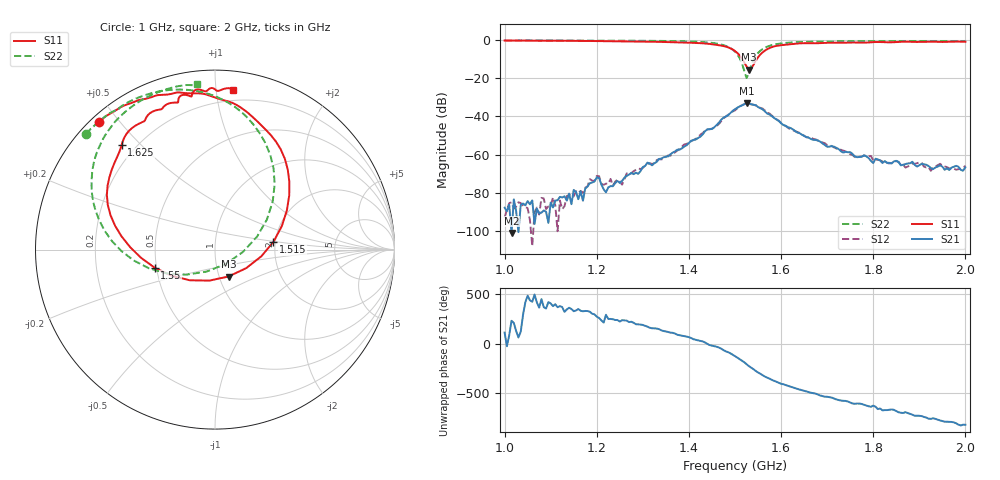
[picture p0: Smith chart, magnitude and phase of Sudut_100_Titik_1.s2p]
# Hz S RI R 50
! CMT, C1220, 16058040, 17.2.0/1
! Date: 14/08/2018 12:55:14
! Data: Format (Calibration Info)
! Freq  S11: Re/Im (F2)  S21: Re/Im (F2)  S12: Re/Im (F2)  S22: Re/Im (F2)
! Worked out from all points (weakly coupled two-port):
!   201 points, 1 GHz to 2 GHz, reference 50 ohm
!   highest |S21| = -33.06 dB at 1.525 GHz (marker M1); lowest = -100.9 dB at 1.015 GHz (marker M2)
!   lowest |S11| = -15.5 dB at 1.53 GHz (marker M3), VSWR 1.40, Z = 55.4 - j17.1 ohm
!   |S11| at or under -10 dB: 1.516 GHz to 1.547 GHz (31.71 MHz wide, 2.07 % of centre)
!   |S22| runs from -19.9 to -0.3 dB; largest |S21 - S12| = 0.00093
!   S11 on the Smith chart (normalised r, x): 1 GHz: 0.02, +0.44; 1.515 GHz: 1.95, +0.19; 1.55 GHz: 0.49, -0.11; 1.625 GHz: 0.15, +0.44; 2 GHz: 0.12, +1.11
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1e9  -0.6451 0.7135  -1.54e-05 3.85e-05  -2.84e-06 -2.28e-05  -0.7192 0.6455
1.015e9  -0.6276 0.7266  -5.81e-06 -6.88e-06  1.7e-05 5.44e-05  -0.7083 0.6566
1.17e9  -0.4534 0.822  5.17e-05 -3.59e-05  6.55e-05 -7.58e-05  -0.5769 0.7654
1.2e9  -0.4081 0.8361  6.56e-06 -0.000256  8.85e-06 -0.00028  -0.543 0.7775
1.22e9  -0.3788 0.842  3.57e-05 -9.83e-05  -4.11e-05 -0.000171  -0.5309 0.7908
1.255e9  -0.3215 0.86  -0.000117 -0.000172  -7.13e-05 -0.00015  -0.4882 0.8185
1.265e9  -0.3058 0.8615  -0.000175 -0.00022  -0.000226 -0.000237  -0.4745 0.8258
1.335e9  -0.1732 0.8727  -0.00064 0.000441  -0.000576 0.000508  -0.3601 0.8697
1.45e9  0.2056 0.7425  0.00441 -0.00165  0.0044 -0.00191  0.0455 0.8338
1.5e9  0.4137 0.3026  -0.00899 -0.0125  -0.00843 -0.0118  0.3324 0.3632
1.515e9  0.3252 0.0423  -0.0192 -0.00293  -0.0193 -0.00351  0.2342 0.072
1.525e9  0.1738 -0.1034  -0.02 0.0097  -0.0203 0.00967  0.0622 -0.0792
1.53e9  0.0753 -0.1499  -0.0151 0.0152  -0.0152 0.0154  -0.0479 -0.1229
1.55e9  -0.3367 -0.1005  0.00605 0.0166  0.00539 0.0168  -0.4527 -0.0606
1.58e9  -0.5974 0.2496  0.0102 -0.000743  0.0105 -0.0012  -0.6785 0.2662
1.625e9  -0.5204 0.5819  0.000778 -0.00459  0.00086 -0.00435  -0.6492 0.5627
1.67e9  -0.402 0.7112  -0.00182 -0.00165  -0.00194 -0.00173  -0.5661 0.7008
1.835e9  -0.1317 0.8528  0.000352 0.000505  0.000355 0.000474  -0.3155 0.8781
1.905e9  -0.0399 0.8892  0.000568 -8.42e-05  0.000594 -0.000194  -0.2196 0.9077
1.925e9  -0.0132 0.8998  0.000364 -0.000264  0.000308 -0.000223  -0.1927 0.9127
1.945e9  0.0113 0.8847  0.000328 -0.000417  0.000382 -0.000436  -0.1637 0.9166
2e9  0.1016 0.8902  -4.2e-05 -0.000466  -6.42e-05 -0.000517  -0.0977 0.9223
